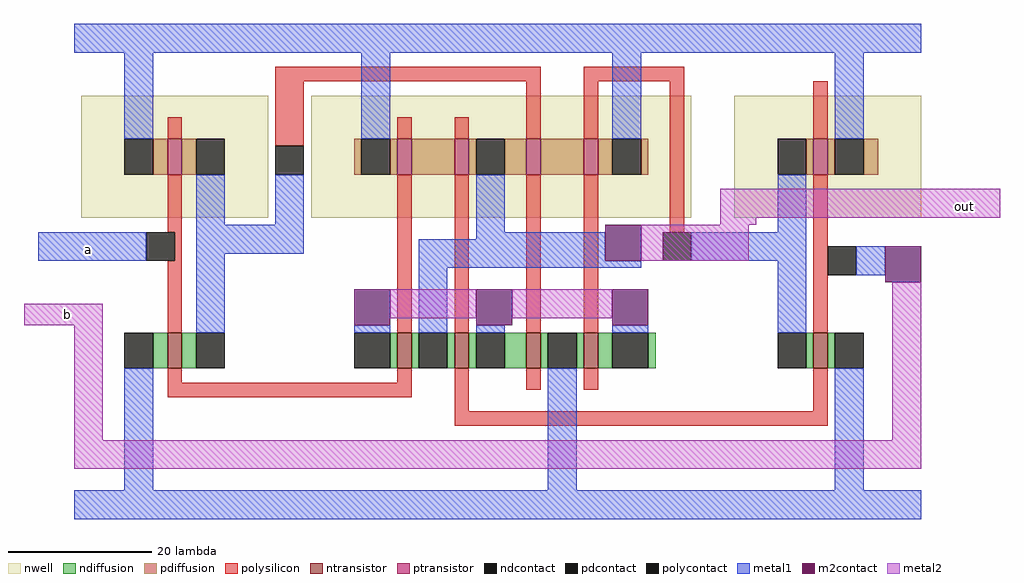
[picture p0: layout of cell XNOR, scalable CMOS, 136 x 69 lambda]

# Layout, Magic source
magic
tech scmos
<< nwell >>
rect 12 -46 38 -29
rect 44 -46 97 -29
rect 103 -46 129 -29
<< ntransistor >>
rect 24 -67 26 -62
rect 56 -67 58 -62
rect 64 -67 66 -62
rect 74 -67 76 -62
rect 82 -67 84 -62
rect 114 -67 116 -62
<< ptransistor >>
rect 24 -40 26 -35
rect 56 -40 58 -35
rect 64 -40 66 -35
rect 74 -40 76 -35
rect 82 -40 84 -35
rect 114 -40 116 -35
<< ndiffusion >>
rect 22 -67 24 -62
rect 26 -67 28 -62
rect 55 -67 56 -62
rect 58 -67 59 -62
rect 63 -67 64 -62
rect 66 -67 67 -62
rect 71 -67 74 -62
rect 76 -67 77 -62
rect 81 -67 82 -62
rect 84 -67 86 -62
rect 91 -67 92 -62
rect 113 -67 114 -62
rect 116 -67 117 -62
<< pdiffusion >>
rect 22 -40 24 -35
rect 26 -40 28 -35
rect 50 -40 51 -35
rect 55 -40 56 -35
rect 58 -40 64 -35
rect 66 -40 67 -35
rect 71 -40 74 -35
rect 76 -40 82 -35
rect 84 -40 86 -35
rect 90 -40 91 -35
rect 113 -40 114 -35
rect 116 -40 117 -35
rect 121 -40 123 -35
<< ndcontact >>
rect 18 -67 22 -62
rect 28 -67 32 -62
rect 50 -67 55 -62
rect 59 -67 63 -62
rect 67 -67 71 -62
rect 77 -67 81 -62
rect 86 -67 91 -62
rect 109 -67 113 -62
rect 117 -67 121 -62
<< pdcontact >>
rect 18 -40 22 -35
rect 28 -40 32 -35
rect 51 -40 55 -35
rect 67 -40 71 -35
rect 86 -40 90 -35
rect 109 -40 113 -35
rect 117 -40 121 -35
<< polysilicon >>
rect 39 -27 76 -25
rect 24 -35 26 -32
rect 39 -36 43 -27
rect 56 -35 58 -32
rect 64 -35 66 -32
rect 74 -35 76 -27
rect 82 -27 96 -25
rect 82 -35 84 -27
rect 24 -48 26 -40
rect 25 -52 26 -48
rect 24 -62 26 -52
rect 56 -62 58 -40
rect 64 -62 66 -40
rect 74 -62 76 -40
rect 82 -62 84 -40
rect 94 -48 96 -27
rect 114 -35 116 -27
rect 114 -62 116 -40
rect 24 -69 26 -67
rect 56 -69 58 -67
rect 24 -71 58 -69
rect 64 -73 66 -67
rect 74 -70 76 -67
rect 82 -70 84 -67
rect 114 -73 116 -67
rect 64 -75 116 -73
<< polycontact >>
rect 39 -40 43 -36
rect 21 -52 25 -48
rect 93 -52 97 -48
rect 116 -54 120 -50
<< metal1 >>
rect 11 -23 129 -19
rect 18 -35 22 -23
rect 51 -35 55 -23
rect 86 -35 90 -23
rect 117 -35 121 -23
rect 28 -47 32 -40
rect 39 -47 43 -40
rect 6 -52 21 -48
rect 28 -51 43 -47
rect 67 -48 71 -40
rect 67 -49 85 -48
rect 28 -62 32 -51
rect 59 -52 85 -49
rect 109 -48 113 -40
rect 97 -52 113 -48
rect 59 -53 90 -52
rect 50 -62 55 -61
rect 59 -62 63 -53
rect 67 -62 71 -61
rect 86 -62 91 -61
rect 109 -62 113 -52
rect 120 -54 124 -50
rect 18 -84 22 -67
rect 77 -84 81 -67
rect 117 -84 121 -67
rect 11 -88 129 -84
<< m2contact >>
rect 85 -52 90 -47
rect 50 -61 55 -56
rect 67 -61 72 -56
rect 86 -61 91 -56
rect 124 -55 129 -50
<< metal2 >>
rect 101 -46 140 -42
rect 101 -47 106 -46
rect 90 -52 105 -47
rect 4 -61 15 -58
rect 55 -60 67 -56
rect 72 -60 86 -56
rect 11 -77 15 -61
rect 125 -77 129 -55
rect 11 -81 129 -77
<< labels >>
rlabel metal1 12 -51 14 -50 1 a
rlabel metal2 9 -60 11 -59 1 b
rlabel metal2 134 -45 136 -44 7 out
<< end >>
